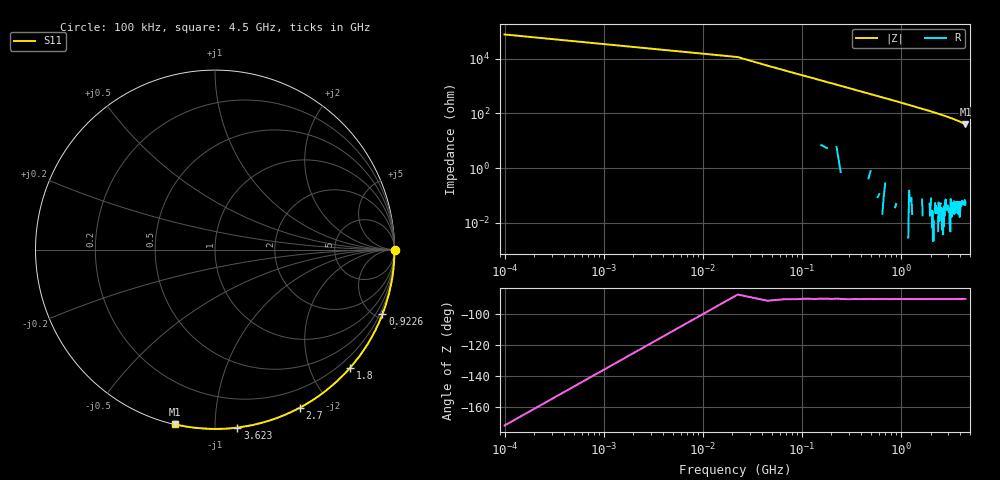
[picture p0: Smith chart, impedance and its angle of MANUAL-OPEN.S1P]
!Agilent Technologies,E5071C,MY46101151,A.11.34
!Date: Mon Sep 17 22:26:30 2018
!Data & Calibration Information:
!Freq	S22:SOLT1(ON)
!PortZ  Port2:50+j0
!Above PortZ is port z conversion or system Z0 setting when saving the data.
!When reading, reference impedance value at option line is always used.
# Hz S dB R 50
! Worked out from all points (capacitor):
!   201 points, 100 kHz to 4.5 GHz, reference 50 ohm
!   read as one part to ground: C = 643 fF near 22.6 MHz
!   lowest |Z| = 39.8 ohm at 4.5 GHz (marker M1)
!   S11 on the Smith chart (normalised r, x): 100 kHz: open; 922.6 MHz: -0.00, -5.37; 1.8 GHz: -0.00, -2.66; 2.7 GHz: 0.00, -1.67; 3.623 GHz: 0.00, -1.13; 4.5 GHz: 0.00, -0.80
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100000  0.01 -0.0
2.925935e8  0.00 -6.7
3.825915e8  0.00 -8.8
5.625875e8  0.00 -12.9
7.65083e8  0.01 -17.5
9.225795e8  0.00 -21.1
1.125075e9  0.00 -25.7
1.37257e9  0.01 -31.5
1.530066e9  0.00 -35.0
1.687562e9  0.00 -38.6
1.80006e9  0.00 -41.2
2.047554e9  0.00 -46.9
2.25005e9  -0.00 -51.5
2.385047e9  -0.00 -54.6
2.565043e9  0.00 -58.7
2.70004e9  -0.00 -61.8
2.812538e9  -0.01 -64.4
2.947534e9  -0.00 -67.5
3.12753e9  -0.00 -71.6
3.375025e9  -0.00 -77.2
3.510022e9  -0.00 -80.3
3.62252e9  -0.01 -82.9
3.757516e9  -0.00 -85.9
3.937512e9  -0.00 -90.1
4.07251e9  -0.01 -93.2
4.230006e9  -0.01 -96.8
4.342504e9  -0.01 -99.4
4.5e9  -0.01 -103.0
